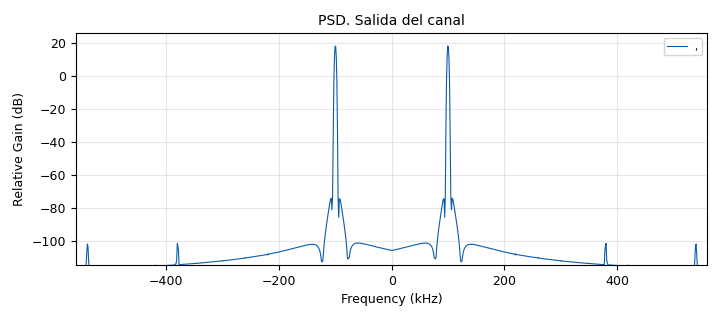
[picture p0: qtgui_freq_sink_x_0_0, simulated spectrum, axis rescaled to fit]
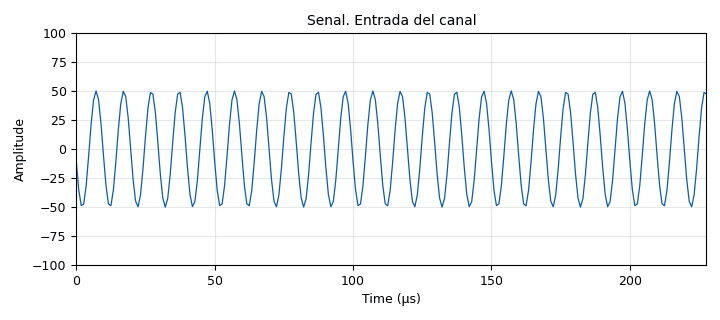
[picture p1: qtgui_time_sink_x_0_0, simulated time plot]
<?xml version='1.0' encoding='utf-8'?>
<?grc format='1' created='3.7.13'?>
<flow_graph>
<block>
<key>options</key>
<param><key>id</key><value>top_block</value></param>
<param><key>generate_options</key><value>qt_gui</value></param>
<param><key>run</key><value>run_stop</value></param>
</block>
<block>
<key>variable</key>
<param><key>id</key><value>B</value></param>
<param><key>value</key><value>40000</value></param>
</block>
<block>
<key>variable</key>
<param><key>id</key><value>Fc</value></param>
<param><key>value</key><value>100000</value></param>
</block>
<block>
<key>variable</key>
<param><key>id</key><value>Fmax</value></param>
<param><key>value</key><value>samp_rate/2</value></param>
</block>
<block>
<key>variable_qtgui_check_box</key>
<param><key>id</key><value>run_stop</value></param>
<param><key>value</key><value>True</value></param>
<param><key>false</key><value>False</value></param>
<param><key>gui_hint</key><value>0,0</value></param>
<param><key>label</key><value>Inicial/Parar</value></param>
<param><key>true</key><value>True</value></param>
<param><key>type</key><value>int</value></param>
</block>
<block>
<key>variable</key>
<param><key>id</key><value>samp_rate</value></param>
<param><key>value</key><value>8*(Fc+B)</value></param>
</block>
<block>
<key>analog_sig_source_x</key>
<param><key>id</key><value>analog_sig_source_x_0</value></param>
<param><key>amp</key><value>50</value></param>
<param><key>freq</key><value>Fc</value></param>
<param><key>offset</key><value>0</value></param>
<param><key>type</key><value>float</value></param>
<param><key>samp_rate</key><value>samp_rate</value></param>
<param><key>waveform</key><value>analog.GR_COS_WAVE</value></param>
</block>
<block>
<key>b_Canal_AWGN_passband_ff</key>
<param><key>id</key><value>b_Canal_AWGN_passband_ff_0</value></param>
<param><key>B</key><value>B</value></param>
<param><key>Ch_NodB</key><value>-20</value></param>
<param><key>Ch_Toffset</key><value>0</value></param>
<param><key>Fc</key><value>Fc</value></param>
<param><key>samp_rate</key><value>samp_rate</value></param>
</block>
<block>
<key>qtgui_freq_sink_x</key>
<param><key>id</key><value>qtgui_freq_sink_x_0</value></param>
<param><key>average</key><value>0.05</value></param>
<param><key>bw</key><value>samp_rate</value></param>
<param><key>fc</key><value>0</value></param>
<param><key>fftsize</key><value>1024</value></param>
<param><key>gui_hint</key><value>2,1,1,1</value></param>
<param><key>label1</key><value>,</value></param>
<param><key>width1</key><value>3</value></param>
<param><key>name</key><value>"PSD. Salida del canal"</value></param>
<param><key>showports</key><value>True</value></param>
<param><key>type</key><value>float</value></param>
<param><key>wintype</key><value>firdes.WIN_BLACKMAN_hARRIS</value></param>
</block>
<block>
<key>qtgui_freq_sink_x</key>
<param><key>id</key><value>qtgui_freq_sink_x_0_0</value></param>
<param><key>average</key><value>0.05</value></param>
<param><key>bw</key><value>samp_rate</value></param>
<param><key>fc</key><value>0</value></param>
<param><key>fftsize</key><value>1024</value></param>
<param><key>gui_hint</key><value>1,1,1,1</value></param>
<param><key>label1</key><value>,</value></param>
<param><key>width1</key><value>3</value></param>
<param><key>name</key><value>"PSD. Salida del canal"</value></param>
<param><key>showports</key><value>True</value></param>
<param><key>type</key><value>float</value></param>
<param><key>wintype</key><value>firdes.WIN_BLACKMAN_hARRIS</value></param>
</block>
<block>
<key>qtgui_time_sink_x</key>
<param><key>id</key><value>qtgui_time_sink_x_0</value></param>
<param><key>gui_hint</key><value>2,0,1,1</value></param>
<param><key>color1</key><value>"blue"</value></param>
<param><key>label1</key><value></value></param>
<param><key>width1</key><value>3</value></param>
<param><key>name</key><value>"Senal. Salida del canal"</value></param>
<param><key>size</key><value>256</value></param>
<param><key>srate</key><value>samp_rate</value></param>
<param><key>type</key><value>float</value></param>
<param><key>ymax</key><value>100</value></param>
<param><key>ymin</key><value>-100</value></param>
</block>
<block>
<key>qtgui_time_sink_x</key>
<param><key>id</key><value>qtgui_time_sink_x_0_0</value></param>
<param><key>gui_hint</key><value>1,0,1,1</value></param>
<param><key>color1</key><value>"blue"</value></param>
<param><key>label1</key><value></value></param>
<param><key>width1</key><value>3</value></param>
<param><key>name</key><value>"Senal. Entrada del canal"</value></param>
<param><key>size</key><value>256</value></param>
<param><key>srate</key><value>samp_rate</value></param>
<param><key>type</key><value>float</value></param>
<param><key>ymax</key><value>100</value></param>
<param><key>ymin</key><value>-100</value></param>
</block>
<block>
<key>virtual_sink</key>
<param><key>id</key><value>virtual_sink_0</value></param>
<param><key>stream_id</key><value>a1</value></param>
</block>
<block>
<key>virtual_sink</key>
<param><key>id</key><value>virtual_sink_0_0</value></param>
<param><key>stream_id</key><value>a2</value></param>
</block>
<block>
<key>virtual_source</key>
<param><key>id</key><value>virtual_source_0</value></param>
<param><key>stream_id</key><value>a1</value></param>
</block>
<block>
<key>virtual_source</key>
<param><key>id</key><value>virtual_source_0_0</value></param>
<param><key>stream_id</key><value>a2</value></param>
</block>
<connection><source_block_id>analog_sig_source_x_0</source_block_id><sink_block_id>b_Canal_AWGN_passband_ff_0</sink_block_id><source_key>0</source_key><sink_key>0</sink_key></connection>
<connection><source_block_id>analog_sig_source_x_0</source_block_id><sink_block_id>virtual_sink_0</sink_block_id><source_key>0</source_key><sink_key>0</sink_key></connection>
<connection><source_block_id>b_Canal_AWGN_passband_ff_0</source_block_id><sink_block_id>virtual_sink_0_0</sink_block_id><source_key>0</source_key><sink_key>0</sink_key></connection>
<connection><source_block_id>virtual_source_0</source_block_id><sink_block_id>qtgui_freq_sink_x_0_0</sink_block_id><source_key>0</source_key><sink_key>0</sink_key></connection>
<connection><source_block_id>virtual_source_0</source_block_id><sink_block_id>qtgui_time_sink_x_0_0</sink_block_id><source_key>0</source_key><sink_key>0</sink_key></connection>
<connection><source_block_id>virtual_source_0_0</source_block_id><sink_block_id>qtgui_freq_sink_x_0</sink_block_id><source_key>0</source_key><sink_key>0</sink_key></connection>
<connection><source_block_id>virtual_source_0_0</source_block_id><sink_block_id>qtgui_time_sink_x_0</sink_block_id><source_key>0</source_key><sink_key>0</sink_key></connection>
</flow_graph>
